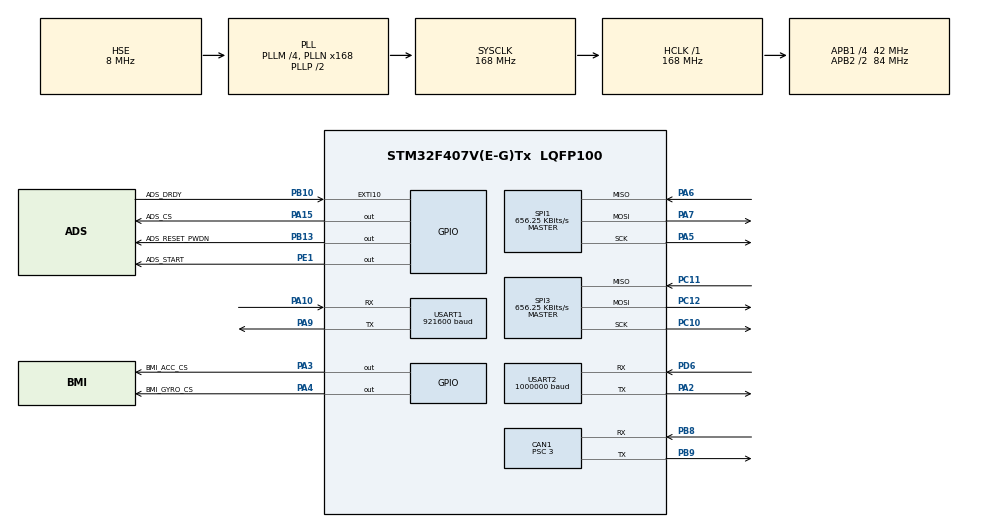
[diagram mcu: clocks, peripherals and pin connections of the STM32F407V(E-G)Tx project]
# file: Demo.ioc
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CAN1.ABOM=ENABLE
CAN1.AWUM=DISABLE
CAN1.BS1=CAN_BS1_8TQ
CAN1.BS2=CAN_BS2_5TQ
CAN1.CalculateBaudRate=1000000
CAN1.CalculateTimeQuantum=71.42857142857143
CAN1.Mode=CAN_MODE_NORMAL
CAN1.NART=DISABLE
CAN1.Prescaler=3
CAN1.RFLM=DISABLE
CAN1.SJW=CAN_SJW_1TQ
CAN1.TTCM=DISABLE
CAN1.TXFP=DISABLE
Mcu.Family=STM32F4
Mcu.Name=STM32F407V(E-G)Tx
Mcu.Package=LQFP100
NVIC.CAN1_RX0_IRQn=true\:5\:0\:false\:false\:true\:true\:true\:true
NVIC.EXTI15_10_IRQn=true\:5\:0\:false\:false\:true\:true\:true\:true
NVIC.PriorityGroup=NVIC_PRIORITYGROUP_4
NVIC.USART1_IRQn=true\:0\:0\:false\:false\:true\:true\:true\:true
PA10.Mode=Asynchronous
PA10.Signal=USART1_RX
PA13.Mode=Serial_Wire
PA13.Signal=SYS_JTMS-SWDIO
PA14.Mode=Serial_Wire
PA14.Signal=SYS_JTCK-SWCLK
PA15.GPIO_Label=ADS_CS
PA15.GPIO_PuPd=GPIO_NOPULL
PA15.GPIO_Speed=GPIO_SPEED_FREQ_VERY_HIGH
PA15.PinState=GPIO_PIN_SET
PA15.Signal=GPIO_Output
PA2.Mode=Asynchronous
PA2.Signal=USART2_TX
PA3.GPIO_Label=BMI_ACC_CS
PA3.GPIO_PuPd=GPIO_NOPULL
PA3.GPIO_Speed=GPIO_SPEED_FREQ_VERY_HIGH
PA3.PinState=GPIO_PIN_SET
PA3.Signal=GPIO_Output
PA4.GPIO_Label=BMI_GYRO_CS
PA4.GPIO_PuPd=GPIO_NOPULL
PA4.GPIO_Speed=GPIO_SPEED_FREQ_VERY_HIGH
PA4.PinState=GPIO_PIN_SET
PA4.Signal=GPIO_Output
PA5.Mode=Full_Duplex_Master
PA5.Signal=SPI1_SCK
PA6.Mode=Full_Duplex_Master
PA6.Signal=SPI1_MISO
PA7.Mode=Full_Duplex_Master
PA7.Signal=SPI1_MOSI
PA9.Mode=Asynchronous
PA9.Signal=USART1_TX
PB10.GPIO_Label=ADS_DRDY
PB10.GPIO_ModeDefaultEXTI=GPIO_MODE_IT_FALLING
PB10.GPIO_PuPd=GPIO_NOPULL
PB10.Signal=GPXTI10
PB13.GPIO_Label=ADS_RESET_PWDN
PB13.GPIO_PuPd=GPIO_NOPULL
PB13.GPIO_Speed=GPIO_SPEED_FREQ_LOW
PB13.PinState=GPIO_PIN_SET
PB13.Signal=GPIO_Output
PB8.Mode=CAN_Activate
PB8.Signal=CAN1_RX
PB9.Mode=CAN_Activate
PB9.Signal=CAN1_TX
PC10.Mode=Full_Duplex_Master
PC10.Signal=SPI3_SCK
PC11.Mode=Full_Duplex_Master
PC11.Signal=SPI3_MISO
PC12.Mode=Full_Duplex_Master
PC12.Signal=SPI3_MOSI
PD6.Mode=Asynchronous
PD6.Signal=USART2_RX
PE1.GPIO_Label=ADS_START
PE1.GPIO_PuPd=GPIO_NOPULL
PE1.GPIO_Speed=GPIO_SPEED_FREQ_LOW
PE1.PinState=GPIO_PIN_RESET
PE1.Signal=GPIO_Output
PH0-OSC_IN.Mode=HSE-External-Oscillator
PH0-OSC_IN.Signal=RCC_OSC_IN
PH1-OSC_OUT.Mode=HSE-External-Oscillator
PH1-OSC_OUT.Signal=RCC_OSC_OUT
ProjectManager.HeapSize=0x200
ProjectManager.StackSize=0x400
ProjectManager.TargetToolchain=MDK-ARM V5.32
RCC.48MHZClocksFreq_Value=84000000
RCC.AHBFreq_Value=168000000
RCC.APB1CLKDivider=RCC_HCLK_DIV4
RCC.APB1Freq_Value=42000000
RCC.APB1TimFreq_Value=84000000
RCC.APB2CLKDivider=RCC_HCLK_DIV2
RCC.APB2Freq_Value=84000000
RCC.APB2TimFreq_Value=168000000
RCC.CortexFreq_Value=168000000
RCC.HCLKFreq_Value=168000000
RCC.HSE_VALUE=8000000
RCC.HSI_VALUE=16000000
RCC.LSE_VALUE=32768
RCC.PLLM=4
RCC.PLLN=168
RCC.PLLSourceVirtual=RCC_PLLSOURCE_HSE
RCC.SYSCLKFreq_VALUE=168000000
RCC.SYSCLKSource=RCC_SYSCLKSOURCE_PLLCLK
RCC.VCOOutputFreq_Value=336000000
SPI1.BaudRatePrescaler=SPI_BAUDRATEPRESCALER_128
SPI1.CLKPhase=SPI_PHASE_2EDGE
SPI1.CLKPolarity=SPI_POLARITY_HIGH
SPI1.CalculateBaudRate=656.25 KBits/s
SPI1.Direction=SPI_DIRECTION_2LINES
SPI1.Mode=SPI_MODE_MASTER
SPI1.VirtualType=VM_MASTER
SPI3.BaudRatePrescaler=SPI_BAUDRATEPRESCALER_64
SPI3.CLKPhase=SPI_PHASE_2EDGE
SPI3.CalculateBaudRate=656.25 KBits/s
SPI3.Direction=SPI_DIRECTION_2LINES
SPI3.Mode=SPI_MODE_MASTER
SPI3.VirtualType=VM_MASTER
USART1.BaudRate=921600
USART1.VirtualMode=VM_ASYNC
USART2.BaudRate=1000000
USART2.VirtualMode=VM_ASYNC
board=custom

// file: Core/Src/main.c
/* USER CODE BEGIN Header */
/**
  ******************************************************************************
  * @file           : main.c
  * @brief          : Main program body
  ******************************************************************************
  * @attention
  *
  * Copyright (c) 2026 STMicroelectronics.
  * All rights reserved.
  *
  * This software is licensed under terms that can be found in the LICENSE file
  * in the root directory of this software component.
  * If no LICENSE file comes with this software, it is provided AS-IS.
  *
  ******************************************************************************
  */
/* USER CODE END Header */
#include "main.h"
#include "can.h"
#include "spi.h"
#include "usart.h"
#include "gpio.h"

/* USER CODE BEGIN Includes */
#include <rtthread.h>
#include "bmi088.h"
#include "eeg_raw_stream.h"

/* USER CODE END Includes */

void SystemClock_Config(void);

/* USER CODE BEGIN 0 */
static void debug_uart1_send(const char *text)
{
  const char *p = text;

  while ((p != 0) && (*p != '\0'))
  {
    (void)HAL_UART_Transmit(&huart1, (uint8_t *)p, 1U, 100U);
    p++;
  }
}

/* USER CODE END 0 */

int main(void)
{

  /* USER CODE BEGIN 1 */
#ifdef RT_USING_USER_MAIN
  /*
   * rt_hw_board_init() already initialized HAL and the system clock before
   * RT-Thread started this user main thread.
   */
#else

  /* USER CODE END 1 */

  /* MCU Configuration--------------------------------------------------------*/

  /* Reset of all peripherals, Initializes the Flash interface and the Systick. */
  HAL_Init();

  /* Configure the system clock */
  SystemClock_Config();

  /* USER CODE BEGIN SysInit */
#endif /* RT_USING_USER_MAIN */

  /* USER CODE END SysInit */

  /* Initialize all configured peripherals */
  MX_GPIO_Init();
  MX_CAN1_Init();
  MX_USART1_UART_Init();
  MX_USART2_UART_Init();
  MX_SPI1_Init();
  MX_SPI3_Init();
  /* USER CODE BEGIN 2 */
  debug_uart1_send("STM32_BOOT,USART1_OK\r\n");
  (void)bmi088_start();
  (void)eeg_raw_stream_init();

  /* USER CODE END 2 */

  /* Infinite loop */
  /* USER CODE BEGIN WHILE */
  while (1)
  {
    rt_thread_mdelay(1000);
    /* USER CODE END WHILE */

  }
}

void SystemClock_Config(void)
{
  RCC_OscInitTypeDef RCC_OscInitStruct = {0};
  RCC_ClkInitTypeDef RCC_ClkInitStruct = {0};

  /** Configure the main internal regulator output voltage
  */
  __HAL_RCC_PWR_CLK_ENABLE();
  __HAL_PWR_VOLTAGESCALING_CONFIG(PWR_REGULATOR_VOLTAGE_SCALE1);

  /** Initializes the RCC Oscillators according to the specified parameters
  * in the RCC_OscInitTypeDef structure.
  */
  RCC_OscInitStruct.OscillatorType = RCC_OSCILLATORTYPE_HSE;
  RCC_OscInitStruct.HSEState = RCC_HSE_ON;
  RCC_OscInitStruct.PLL.PLLState = RCC_PLL_ON;
  RCC_OscInitStruct.PLL.PLLSource = RCC_PLLSOURCE_HSE;
  RCC_OscInitStruct.PLL.PLLM = 4;
  RCC_OscInitStruct.PLL.PLLN = 168;
  RCC_OscInitStruct.PLL.PLLP = RCC_PLLP_DIV2;
  RCC_OscInitStruct.PLL.PLLQ = 4;
  if (HAL_RCC_OscConfig(&RCC_OscInitStruct) != HAL_OK)
  {
    Error_Handler();
  }

  /** Initializes the CPU, AHB and APB buses clocks
  */
  RCC_ClkInitStruct.ClockType = RCC_CLOCKTYPE_HCLK|RCC_CLOCKTYPE_SYSCLK
                              |RCC_CLOCKTYPE_PCLK1|RCC_CLOCKTYPE_PCLK2;
  RCC_ClkInitStruct.SYSCLKSource = RCC_SYSCLKSOURCE_PLLCLK;
  RCC_ClkInitStruct.AHBCLKDivider = RCC_SYSCLK_DIV1;
  RCC_ClkInitStruct.APB1CLKDivider = RCC_HCLK_DIV4;
  RCC_ClkInitStruct.APB2CLKDivider = RCC_HCLK_DIV2;

  if (HAL_RCC_ClockConfig(&RCC_ClkInitStruct, FLASH_LATENCY_5) != HAL_OK)
  {
    Error_Handler();
  }
}

void Error_Handler(void)
{
  __disable_irq();
  while (1)
  {
  }
}
